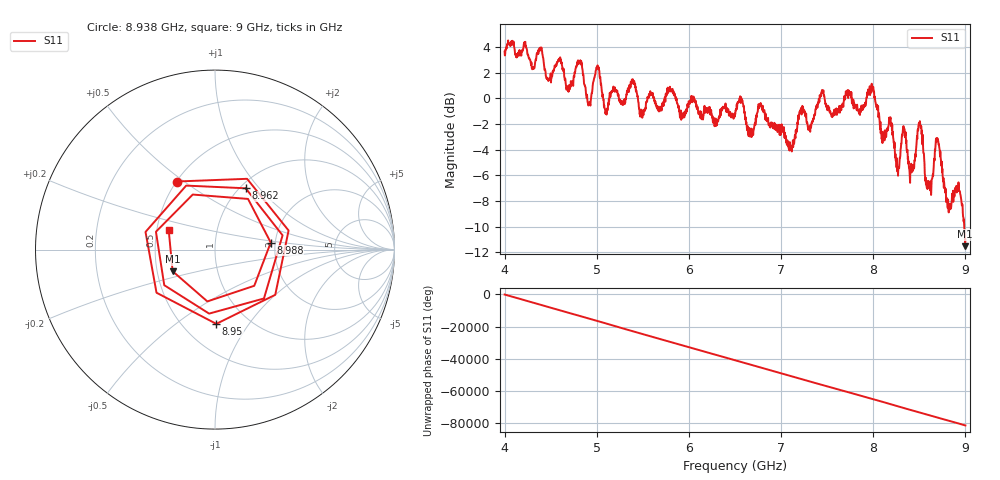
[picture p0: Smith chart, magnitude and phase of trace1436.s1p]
! Created with skrf 1.8.0 (http://scikit-rf.org).
# Hz S RI R 50.0
!freq ReS11 ImS11
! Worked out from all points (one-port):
!   1601 points, 4 GHz to 9 GHz, reference 50 ohm
!   lowest |S11| = -11.5 dB at 8.997 GHz (marker M1), VSWR 1.72, Z = 30.1 - j7.81 ohm
!   |S11| at or under -10 dB: 8.987439 GHz to end of sweep
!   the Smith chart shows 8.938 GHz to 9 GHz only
!   S11 on the Smith chart (normalised r, x): 8.938 GHz: 0.50, +0.47; 8.95 GHz: 0.72, -0.72; 8.962 GHz: 1.06, +0.85; 8.988 GHz: 1.89, +0.16; 9 GHz: 0.58, +0.14
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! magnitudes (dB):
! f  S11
! 4 GHz  3.6
! 4.625 GHz  2.5
! 4.912 GHz  -0.5
! 5.25 GHz  -0.1
! 5.875 GHz  -0.4
! 6.5 GHz  -1.2
! 6.672 GHz  -3.0
! 6.778 GHz  -0.4
! 7.125 GHz  -3.8
! 7.219 GHz  -0.8
! 7.75 GHz  0.4
! 7.984 GHz  1.1
! 8.097 GHz  -2.6
! 8.191 GHz  -2.0
! 8.259 GHz  -5.2
! 8.328 GHz  -2.2
! 8.375 GHz  -4.8
! 8.422 GHz  -5.2
! 8.506 GHz  -1.8
! 8.594 GHz  -6.4
! 8.694 GHz  -3.3
! 8.816 GHz  -8.6
! 8.938 GHz  -7.2
! 8.95 GHz  -7.7
! 8.962 GHz  -8.4
! 8.988 GHz  -10.1
! 8.997 GHz  -11.5
! 9 GHz  -11.0
